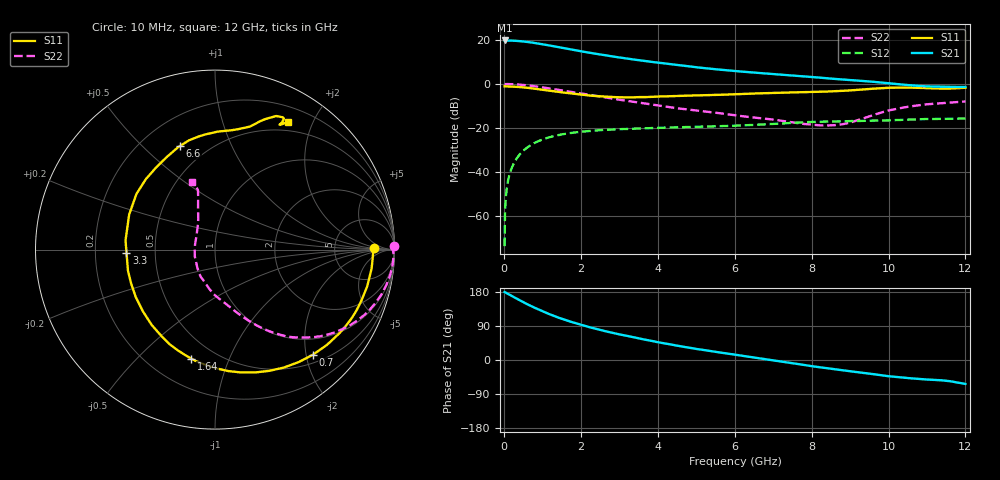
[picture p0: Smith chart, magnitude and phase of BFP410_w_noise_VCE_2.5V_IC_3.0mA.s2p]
! Infineon Technologies  Discrete & RF Semiconductors
! BFP410
! VCE =  2.5 V,  IC =  3.0 mA
! Common Emitter S-Parameters:  Nov 2015
# GHz  S  MA  R  50
!  f  S11  S21  S12  S22
! GHz  MAG  ANG  MAG  ANG  MAG  ANG  MAG  ANG
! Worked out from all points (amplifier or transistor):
!   243 points, 10 MHz to 12 GHz, reference 50 ohm
!   highest |S21| = 19.8 dB at 10 MHz (marker M1)
!   |S21| within 3 dB of that: start of sweep to 1.393 GHz
!   unconditionally stable (mu >= 1): 3.652 GHz to end of sweep
!   at 240 MHz: K = 0.06, MSG = 28.1 dB, |S12| = -36.5 dB
!   at 1.84 GHz: K = 0.47, MSG = 18.8 dB, |S12| = -22.1 dB
!   at 12 GHz: K = 1.11, MAG = 5.2 dB, |S12| = -15.7 dB
!   lowest NFmin = 0.87 dB at 900 MHz
!   S11 on the Smith chart (normalised r, x): 10 MHz: 16, +2; 700 MHz: 0.65, -2.13; 1.64 GHz: 0.37, -0.74; 3.3 GHz: 0.34, -0.01; 6.6 GHz: 0.36, +0.66; 12 GHz: 0.39, +1.65
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0.01  0.8851 0.7  9.816 179.4  0.0002 41.9  0.9989 1.2
0.015  0.8833 -0.0  9.8 179.2  0.0007 75.2  0.9942 0.7
0.02  0.8816 -0.8  9.785 178.9  0.0012 80.5  0.9896 0.1
0.04  0.8803 -2.4  9.762 177.4  0.0025 88.7  0.9933 -0.8
0.13  0.876 -8.7  9.766 172.7  0.0082 84.9  0.9933 -4.4
0.36  0.8559 -24.5  9.554 160.1  0.0221 77.3  0.9711 -12.5
0.52  0.8313 -35.2  9.261 151.5  0.0313 71.8  0.9448 -17.8
0.7  0.8003 -47.1  8.858 142.3  0.0409 65.9  0.9086 -23.6
0.9  0.7611 -59.7  8.318 132.8  0.0502 59.8  0.8615 -29.4
1.1  0.7198 -72.0  7.758 124.1  0.0583 54.3  0.8108 -34.7
1.4  0.6618 -89.3  6.93 112.2  0.068 46.8  0.7358 -41.5
1.64  0.6215 -102.2  6.343 103.9  0.0742 41.8  0.6809 -46.0
2.02  0.5688 -121.0  5.517 92.4  0.0817 35.4  0.6038 -52.1
2.6  0.5148 -149.0  4.54 76.7  0.0896 27.1  0.4972 -60.0
3.3  0.4934 -178.1  3.679 61.4  0.095 20.2  0.3998 -68.0
4.1  0.5183 155.1  2.985 45.2  0.1004 14.7  0.3143 -77.7
5  0.55 134.5  2.401 29.2  0.1055 9.8  0.248 -91.8
6.1  0.5859 115.9  1.94 12.6  0.1126 5.5  0.1882 -108.4
6.6  0.6094 108.6  1.789 5.1  0.1177 3.7  0.1678 -119.0
8.2  0.6634 85.4  1.396 -19.0  0.1374 -6.5  0.1138 -172.2
10.2  0.8233 64.1  0.999 -44.7  0.1503 -17.8  0.2699 110.4
12  0.8175 60.3  0.852 -63.1  0.1632 -31.1  0.3988 108.9
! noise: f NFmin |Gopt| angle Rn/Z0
0.45  0.92  0.39  6  0.24
0.9  0.87  0.38  20  0.22
1.8  1.07  0.29  53  0.19
2.4  1.11  0.25  58  0.19
5.5  2.12  0.33  -139  0.2
10  3.64  0.68  -55  1.98
